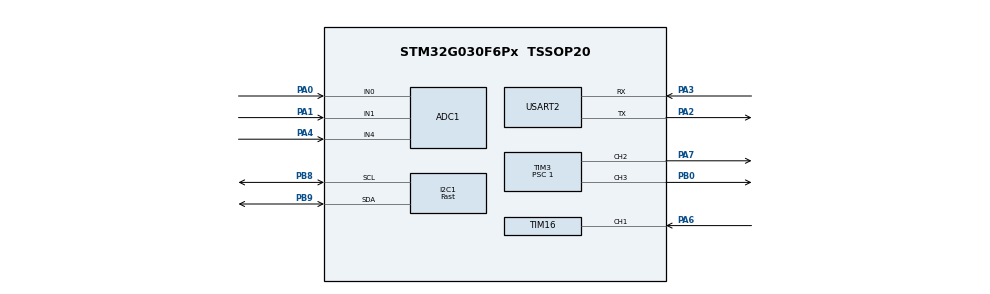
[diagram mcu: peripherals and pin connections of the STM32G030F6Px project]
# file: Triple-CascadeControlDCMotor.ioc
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ADC1.Channel-10\#ChannelRegularConversion=ADC_CHANNEL_1
ADC1.Channel-12\#ChannelRegularConversion=ADC_CHANNEL_TEMPSENSOR
ADC1.Channel-13\#ChannelRegularConversion=ADC_CHANNEL_VREFINT
ADC1.Channel-9\#ChannelRegularConversion=ADC_CHANNEL_0
ADC1.ContinuousConvMode=DISABLE
ADC1.DMAContinuousRequests=ENABLE
ADC1.DiscontinuousConvMode=DISABLE
ADC1.EOCSelection=ADC_EOC_SINGLE_CONV
ADC1.NbrOfConversion=4
ADC1.NbrOfConversionFlag=1
ADC1.Overrun=ADC_OVR_DATA_PRESERVED
ADC1.OversamplingMode=ENABLE
ADC1.Rank-10\#ChannelRegularConversion=3
ADC1.Rank-12\#ChannelRegularConversion=4
ADC1.Rank-13\#ChannelRegularConversion=2
ADC1.Rank-9\#ChannelRegularConversion=1
ADC1.Ratio=ADC_OVERSAMPLING_RATIO_2
ADC1.RightBitShift=ADC_RIGHTBITSHIFT_NONE
ADC1.SamplingTime-10\#ChannelRegularConversion=ADC_SAMPLINGTIME_COMMON_1
ADC1.SamplingTime-12\#ChannelRegularConversion=ADC_SAMPLINGTIME_COMMON_2
ADC1.SamplingTime-13\#ChannelRegularConversion=ADC_SAMPLINGTIME_COMMON_2
ADC1.SamplingTime-9\#ChannelRegularConversion=ADC_SAMPLINGTIME_COMMON_1
ADC1.SamplingTimeCommon1=ADC_SAMPLETIME_1CYCLE_5
ADC1.SamplingTimeCommon2=ADC_SAMPLETIME_160CYCLES_5
ADC1.SelectedChannel=ADC_CHANNEL_0|ADC_CHANNEL_1|ADC_CHANNEL_4|ADC_CHANNEL_TEMPSENSOR|ADC_CHANNEL_VREFINT
ADC1.Sequencer=FULLY_CONFIGURABLE
ADC1.master=1
Dma.ADC1.0.Direction=DMA_PERIPH_TO_MEMORY
Dma.ADC1.0.EventEnable=DISABLE
Dma.ADC1.0.Instance=DMA1_Channel1
Dma.ADC1.0.MemDataAlignment=DMA_MDATAALIGN_HALFWORD
Dma.ADC1.0.MemInc=DMA_MINC_ENABLE
Dma.ADC1.0.Mode=DMA_CIRCULAR
Dma.ADC1.0.PeriphDataAlignment=DMA_PDATAALIGN_HALFWORD
Dma.ADC1.0.PeriphInc=DMA_PINC_DISABLE
Dma.ADC1.0.Polarity=HAL_DMAMUX_REQ_GEN_RISING
Dma.ADC1.0.Priority=DMA_PRIORITY_LOW
Dma.ADC1.0.RequestNumber=1
Dma.ADC1.0.SignalID=NONE
Dma.ADC1.0.SyncEnable=DISABLE
Dma.ADC1.0.SyncPolarity=HAL_DMAMUX_SYNC_NO_EVENT
Dma.ADC1.0.SyncRequestNumber=1
Dma.ADC1.0.SyncSignalID=NONE
Dma.Request0=ADC1
Dma.Request1=USART2_RX
Dma.Request2=USART2_TX
Dma.USART2_RX.1.Direction=DMA_PERIPH_TO_MEMORY
Dma.USART2_RX.1.EventEnable=DISABLE
Dma.USART2_RX.1.Instance=DMA1_Channel4
Dma.USART2_RX.1.MemDataAlignment=DMA_MDATAALIGN_BYTE
Dma.USART2_RX.1.MemInc=DMA_MINC_ENABLE
Dma.USART2_RX.1.Mode=DMA_NORMAL
Dma.USART2_RX.1.PeriphDataAlignment=DMA_PDATAALIGN_BYTE
Dma.USART2_RX.1.PeriphInc=DMA_PINC_DISABLE
Dma.USART2_RX.1.Polarity=HAL_DMAMUX_REQ_GEN_RISING
Dma.USART2_RX.1.Priority=DMA_PRIORITY_LOW
Dma.USART2_RX.1.RequestNumber=1
Dma.USART2_RX.1.SignalID=NONE
Dma.USART2_RX.1.SyncEnable=DISABLE
Dma.USART2_RX.1.SyncPolarity=HAL_DMAMUX_SYNC_NO_EVENT
Dma.USART2_RX.1.SyncRequestNumber=1
Dma.USART2_RX.1.SyncSignalID=NONE
Dma.USART2_TX.2.Direction=DMA_MEMORY_TO_PERIPH
Dma.USART2_TX.2.EventEnable=DISABLE
Dma.USART2_TX.2.Instance=DMA1_Channel5
Dma.USART2_TX.2.MemDataAlignment=DMA_MDATAALIGN_BYTE
Dma.USART2_TX.2.MemInc=DMA_MINC_ENABLE
Dma.USART2_TX.2.Mode=DMA_NORMAL
Dma.USART2_TX.2.PeriphDataAlignment=DMA_PDATAALIGN_BYTE
Dma.USART2_TX.2.PeriphInc=DMA_PINC_DISABLE
Dma.USART2_TX.2.Polarity=HAL_DMAMUX_REQ_GEN_RISING
Dma.USART2_TX.2.Priority=DMA_PRIORITY_LOW
Dma.USART2_TX.2.RequestNumber=1
Dma.USART2_TX.2.SignalID=NONE
Dma.USART2_TX.2.SyncEnable=DISABLE
Dma.USART2_TX.2.SyncPolarity=HAL_DMAMUX_SYNC_NO_EVENT
Dma.USART2_TX.2.SyncRequestNumber=1
Dma.USART2_TX.2.SyncSignalID=NONE
I2C1.DualAddressMode=I2C_DUALADDRESS_DISABLE
I2C1.GeneralCallMode=I2C_GENERALCALL_DISABLE
I2C1.I2C_Speed_Mode=I2C_Fast
I2C1.NoStretchMode=I2C_NOSTRETCH_DISABLE
I2C1.Timing=0x00C12166
Mcu.Family=STM32G0
Mcu.Name=STM32G030F6Px
Mcu.Package=TSSOP20
NVIC.DMA1_Ch4_5_DMAMUX1_OVR_IRQn=true\:0\:0\:false\:false\:true\:false\:true\:true
NVIC.DMA1_Channel1_IRQn=true\:0\:0\:false\:false\:true\:false\:true\:true
NVIC.TIM16_IRQn=true\:0\:0\:true\:false\:true\:true\:true\:true
NVIC.USART2_IRQn=true\:0\:0\:true\:false\:true\:true\:true\:true
PA0.Mode=IN0
PA0.Signal=ADC1_IN0
PA1.Mode=IN1
PA1.Signal=ADC1_IN1
PA13.Mode=Serial_Wire
PA13.Signal=SYS_SWDIO
PA14-BOOT0.Mode=Serial_Wire
PA14-BOOT0.Signal=SYS_SWCLK
PA14-BOOT0__PA15.StandardMode=true
PA2.Mode=Asynchronous
PA2.Signal=USART2_TX
PA3.Mode=Asynchronous
PA3.Signal=USART2_RX
PA4.Mode=IN4
PA4.Signal=ADC1_IN4
PA6.Signal=S_TIM16_CH1
PA7.Signal=S_TIM3_CH2
PB0.Signal=S_TIM3_CH3
PB0__PB1__PB2__PA8.StandardMode=true
PB3__PB4__PB5__PB6.StandardMode=true
PB7__PB8.StandardMode=true
PB8.Mode=I2C
PB8.Signal=I2C1_SCL
PB9.Mode=I2C
PB9.Signal=I2C1_SDA
PC14-OSC32_IN\ (PC14)__PB9.StandardMode=true
ProjectManager.HeapSize=0x200
ProjectManager.StackSize=0x400
ProjectManager.TargetToolchain=CMake
RCC.ADCFreq_Value=64000000
RCC.AHBFreq_Value=64000000
RCC.CortexFreq_Value=64000000
RCC.EXTERNAL_CLOCK_VALUE=12288000
RCC.HCLKFreq_Value=64000000
RCC.HSE_VALUE=8000000
RCC.HSI_VALUE=16000000
RCC.LSE_VALUE=32768
RCC.SYSCLKFreq_VALUE=64000000
RCC.SYSCLKSource=RCC_SYSCLKSOURCE_PLLCLK
RCC.VCOOutputFreq_Value=128000000
SH.S_TIM16_CH1.0=TIM16_CH1,Input_Capture1_from_TI1
SH.S_TIM3_CH2.0=TIM3_CH2,PWM Generation2 CH2
SH.S_TIM3_CH3.0=TIM3_CH3,PWM Generation3 CH3
TIM14.Prescaler=63
TIM16.Channel=TIM_CHANNEL_1
TIM16.ICFilter_CH1=7
TIM16.ICPolarity_CH1=TIM_INPUTCHANNELPOLARITY_BOTHEDGE
TIM16.Prescaler=63
TIM3.Channel-PWM\ Generation2\ CH2=TIM_CHANNEL_2
TIM3.Channel-PWM\ Generation3\ CH3=TIM_CHANNEL_3
TIM3.Period=1249
TIM3.Prescaler=1
USART2.VirtualMode-Asynchronous=VM_ASYNC
VP_ADC1_TempSens_Input.Mode=IN-TempSens
VP_ADC1_Vref_Input.Mode=IN-Vrefint
VP_TIM14_VS_ClockSourceINT.Mode=Enable_Timer
VP_TIM16_VS_ClockSourceINT.Mode=Enable_Timer
VP_TIM1_VS_ClockSourceINT.Mode=Internal
board=custom

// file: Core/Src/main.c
/* USER CODE BEGIN Header */
/**
  ******************************************************************************
  * @file           : main.c
  * @brief          : Main program body
  ******************************************************************************
  */
/* USER CODE END Header */
#include "main.h"
#include "adc.h"
#include "dma.h"
#include "i2c.h"
#include "tim.h"
#include "usart.h"
#include "gpio.h"

/* USER CODE BEGIN Includes */
#include "TypeDefine.h"
#include "MT6701.h"
#include "AD116.h"
#include "VoltageStatus.h"
#include "PID.h"
#include "PWMCapture/PWMCapture.h"
#include "NvmParam.h"
#include "ServoControl.h"
#include "Dynamixel2.h"
#include "Crsf.h"
#include "CurrentControl.h"
#include "Sds1601Calibration.h"
/* USER CODE END Includes */

/* USER CODE BEGIN PV */
Param Param_KX;
MT6701 Encoder;
AD116 Drive;
VoltageStatus Voltage;
CaptureData PWMCaptureData;
ServoControl Servo;
Dynamixel2Context DynamixelBus;
CrsfContext CrsfInput;
CurrentControl CurrentLoop;
ServoCommand PwmInputCommand;
/* USER CODE END PV */

void SystemClock_Config(void);

/* USER CODE BEGIN 0 */
#define TK_UART_LINK_TEST 0
static uint32_t App_CurrentUartBaud;

static void App_ApplySds1601ModelDefaultsIfUnconfigured(Param *param)
{
  const bool electrical_model_unconfigured =
      param->MotorTorqueParams.torque_constant_uNm_per_A == 0U
      && param->MotorTorqueParams.back_emf_uV_per_rpm == 0U
      && param->MotorTorqueParams.terminal_resistance_mOhm == 0U;
  const bool legacy_electrical_calibration =
      param->MotorTorqueParams.torque_constant_uNm_per_A
          == SDS1601_LEGACY_TORQUE_CONSTANT_UNM_PER_A
      && param->MotorTorqueParams.back_emf_uV_per_rpm
          == SDS1601_LEGACY_BACK_EMF_UV_PER_RPM;
  const bool mechanical_model_unconfigured =
      param->MechanicalParams.total_inertia_ug_cm2 == 0U
      && param->MechanicalParams.coulomb_friction_uNm == 0U
      && param->MechanicalParams.viscous_friction_nNm_per_rpm == 0U
      && param->MechanicalParams.friction_deadband_cps == 0U;
  const bool legacy_mechanical_calibration =
      param->MechanicalParams.coulomb_friction_uNm
          == SDS1601_LEGACY_COULOMB_FRICTION_UNM;

  if (electrical_model_unconfigured || legacy_electrical_calibration)
  {
    param->MotorTorqueParams.torque_constant_uNm_per_A =
        SDS1601_TORQUE_CONSTANT_UNM_PER_A;
    param->MotorTorqueParams.torque_temp_coefficient_ppm_per_C = -1000;
    param->MotorTorqueParams.back_emf_uV_per_rpm =
        SDS1601_BACK_EMF_UV_PER_RPM;
    param->MotorTorqueParams.terminal_resistance_mOhm =
        SDS1601_TERMINAL_RESISTANCE_MOHM;
    param->MotorTorqueParams.resistance_temp_coefficient_ppm_per_C = 4000U;
    param->MotorTorqueParams.brush_drop_mV = 0U;
    param->MotorTorqueParams.reference_temperature_C = 25;

    /* New configurations use cycle-by-cycle mixed decay. Existing explicit
     * mode selections remain available for hardware diagnostics. */
  }
  if (param->MotorTorqueParams.back_emf_uV_per_rpm
      == SDS1601_INTERIM_BACK_EMF_UV_PER_RPM)
    param->MotorTorqueParams.back_emf_uV_per_rpm = SDS1601_BACK_EMF_UV_PER_RPM;
  if (param->Pid_PosVel.out_max == 400U)
    param->Pid_PosVel.out_max = SPEED_PID_OUTPUT_MAX_MA;
  if (param->TorqueCurrentLimit_mA == 0U)
  {
    param->TorqueCurrentLimit_mA = 400U;
  }
  if (param->MotorInductance_uH == 0U) param->MotorInductance_uH = 10U;
  if (param->CurrentPeakLimit_mA == 0U) param->CurrentPeakLimit_mA = 1500U;
  if (param->CurrentAbsoluteLimit_mA == 0U) param->CurrentAbsoluteLimit_mA = 1800U;
  if (param->TorqueCurrentLimit_mA <= 1830U
      && param->CurrentAbsoluteLimit_mA < param->TorqueCurrentLimit_mA)
    param->CurrentAbsoluteLimit_mA = param->TorqueCurrentLimit_mA;
  if (param->StallCurrentThreshold_mA == 0U) param->StallCurrentThreshold_mA = 300U;
  if (param->StallSpeedThreshold_cps == 0U) param->StallSpeedThreshold_cps = 300U;
  if (param->StallConfirmTimeMs == 0U) param->StallConfirmTimeMs = 3000U;
  if (mechanical_model_unconfigured || legacy_mechanical_calibration)
  {
    /* Inertia remains disabled until a higher-rate identification is available. */
    param->MechanicalParams.total_inertia_ug_cm2 = 0U;
    param->MechanicalParams.coulomb_friction_uNm =
        SDS1601_COULOMB_FRICTION_UNM;
    param->MechanicalParams.viscous_friction_nNm_per_rpm =
        SDS1601_VISCOUS_FRICTION_NNM_PER_RPM;
    param->MechanicalParams.friction_deadband_cps =
        SDS1601_FRICTION_DEADBAND_CPS;
  }
  param->MotorWindingTemperature_C =
      param->MotorTorqueParams.reference_temperature_C;

  /* Migrate the previously shipped value that converted roughly 300 mA of
   * friction compensation instead of the measured approximately 40 mA. */
  if (param->MechanicalParams.coulomb_friction_uNm == 73500U)
  {
    param->MechanicalParams.coulomb_friction_uNm =
        SDS1601_COULOMB_FRICTION_UNM;
    param->MechanicalParams.viscous_friction_nNm_per_rpm =
        SDS1601_VISCOUS_FRICTION_NNM_PER_RPM;
  }
}

#if TK_UART_LINK_TEST
static void App_UartLinkTest_1ms(void)
{
  static uint16_t tick_ms = 0;
  static const uint8_t test_frame[] = {'T', 'K', '1', '1', '5', '2', '0', '0', '\r', '\n'};

  if (++tick_ms >= 1000U)
  {
    tick_ms = 0;
    for (uint32_t i = 0U; i < sizeof(test_frame); ++i)
    {
      while (!LL_USART_IsActiveFlag_TXE_TXFNF(USART2)) {}
      LL_USART_TransmitData8(USART2, test_frame[i]);
    }
  }
}
#endif

static void App_DefaultParam(Param *param)
{
  param->CycleTimeMs = 1;
  param->DutyRatio = 0U;
  param->PwmInputValid = false;
  param->OutputEnabled = false;
  param->TempLimit = 40;
  param->ExpectMA = 0;
  param->CurrentLogical_mA = 0;
  param->CurrentSampleValid = false;
  param->CurrentEstimated = false;
  param->CurrentHardLimitActive = false;
  param->CurrentPeakLimitActive = false;
  param->CurrentAverage_mA = 0;
  param->CurrentPeakChopEvents = 0U;
  param->TorqueEncoderCountsPerRev = 16384U;
  param->TorqueCurrentLimit_mA = 0U;
  param->MotorInductance_uH = 10U;
  param->CurrentPeakLimit_mA = 1500U;
  param->CurrentAbsoluteLimit_mA = 1800U;
  param->StallCurrentThreshold_mA = 300U;
  param->StallSpeedThreshold_cps = 300U;
  param->StallConfirmTimeMs = 3000U;
  param->StallElapsedMs = 0U;
  param->MotorWindingTemperature_C = 25;
  param->MotorTorqueParams = (MotorTorqueModelParams){
    .torque_constant_uNm_per_A = 0U,
    .torque_temp_coefficient_ppm_per_C = 0,
    .back_emf_uV_per_rpm = 0U,
    .terminal_resistance_mOhm = 0U,
    .resistance_temp_coefficient_ppm_per_C = 4000U,
    .brush_drop_mV = 0U,
    .reference_temperature_C = 25
  };
  param->MechanicalParams = (MechanicalModelParams){0};
  param->MotorTorqueResult = (MotorTorqueModelResult){0};
  param->MechanicalResult = (MechanicalModelResult){0};
  param->TargetTorque_uNm = 0;
  param->TargetElectromagneticTorque_uNm = 0;
  param->TorqueCommandVoltageLimited = false;
  param->LowSpeedCompMaxSpeed_cps = 0U;
  param->EncoderExpect = 0;
  param->EncoderOffset = 3400;
  param->EncoderVeer = false;
  param->EncoderRebaseline = false;
  param->SpeedMax = 45000;
  param->PositionDeadbandCounts = PID_POSITION_DEADBAND_DEFAULT_COUNTS;
  param->AccelMax = 60U;
  param->DecelMax = 60U;
  param->EncoderSpeedExpect = 0;
  param->PowerSaveVoltage_mV = 4000;
  param->DriveRunMode = 0;
  param->DrivePwmMode = 4U;
  param->DrivePower = 0;
  param->CurrentFeedforwardPwm = 0;
  param->BaudRate = 115200UL;
  param->SerialWatchdogMs = 500U;
  param->PdoMissLimit = 3U;
  param->FailSafePolicy = FAILSAFE_DISABLE_OUTPUT;
  param->ControlSource = CONTROL_SOURCE_PWM_INPUT;
  param->NodeId = 1U;
  param->Topology = BUS_TOPOLOGY_PARALLEL;
  param->NodeCount = 1U;
  param->NodePosition = 1U;
  param->ReplySlotUs = 120U;
  param->FaultCode = 0U;
  param->ProtectionFlags = PROTECTION_NONE;
  param->CrsfPositionChannel = 1U;
  param->CrsfCenterChannel = 0U;
  param->CrsfEnableChannel = 0U;
  param->CrsfAutoEnable = false;
  param->CrsfManualEnable = false;
  param->CrsfChannelMin = 172U;
  param->CrsfChannelCenter = 992U;
  param->CrsfChannelMax = 1811U;
  param->CrsfCenterTrigger = 1200U;
  param->CrsfEnableThreshold = 1200U;
  param->CrsfArmCurrentLimit_mA = 300U;
  param->CrsfArmSpeed_cps = 5000U;
  param->CrsfArmFollowError = 100U;
  param->CrsfArmTimeoutMs = 2000U;
  param->CrsfWatchdogMs = 100U;
  param->CrsfNegativePositionLimit = -16384;
  param->CrsfPositivePositionLimit = 16384;
  param->CrsfStatus = 0U;
  param->CrsfRawPosition = 0U;
  param->CrsfRawEnable = 0U;
  param->CrsfRawCenter = 0U;
  param->CrsfCenterReference = 0;
}

static bool App_ApplyUartBaud(uint32_t baud)
{
  if (baud >= 115200UL && baud <= 2000000UL)
  {
    LL_USART_Disable(USART2);
    LL_USART_SetBaudRate(USART2, SystemCoreClock, LL_USART_PRESCALER_DIV1,
                         LL_USART_OVERSAMPLING_16, baud);
    LL_USART_Enable(USART2);
    while (!LL_USART_IsActiveFlag_TEACK(USART2)
           || !LL_USART_IsActiveFlag_REACK(USART2))
    {
    }
    App_CurrentUartBaud = baud;
    return true;
  }
  return false;
}

static bool App_ReconfigureUartBaud(uint32_t baud)
{
  uint32_t previous_baud = App_CurrentUartBaud;

  /* The old-baud ACK already reached UART TC; now RX DMA can be restarted safely. */
  /* 旧波特率 ACK 已到达 UART TC，此时可以安全重启 RX DMA。 */
  LL_DMA_DisableChannel(DMA1, LL_DMA_CHANNEL_4);
  LL_USART_DisableDMAReq_RX(USART2);
  if (!App_ApplyUartBaud(baud) || !Dynamixel2_RestartRx(&DynamixelBus))
  {
    LL_DMA_DisableChannel(DMA1, LL_DMA_CHANNEL_4);
    LL_USART_DisableDMAReq_RX(USART2);
    (void)App_ApplyUartBaud(previous_baud);
    (void)Dynamixel2_RestartRx(&DynamixelBus);
    return false;
  }
  return true;
}

static void App_CrsfRxObserver(void *user, const uint8_t *data, uint16_t length)
{
  Crsf_ProcessBytes((CrsfContext *)user, data, length);
}
/* USER CODE END 0 */

int main(void)
{

  /* MCU Configuration--------------------------------------------------------*/

  /* Reset of all peripherals, Initializes the Flash interface and the Systick. */
  LL_APB2_GRP1_EnableClock(LL_APB2_GRP1_PERIPH_SYSCFG);
  LL_APB1_GRP1_EnableClock(LL_APB1_GRP1_PERIPH_PWR);

  /* SysTick_IRQn interrupt configuration */
  NVIC_SetPriority(SysTick_IRQn, 3);

  /* Configure the system clock */
  SystemClock_Config();

  /* Initialize all configured peripherals */
  MX_GPIO_Init();
  MX_DMA_Init();
  MX_ADC1_Init();
  MX_TIM1_Init();
  MX_TIM3_Init();
  MX_TIM16_Init();
  MX_USART2_UART_Init();
  MX_TIM14_Init();
  MX_I2C1_Init();
  /* USER CODE BEGIN 2 */
  PID_Init(&Param_KX);
  App_DefaultParam(&Param_KX);
  (void)NvmParam_Load(&Param_KX);
  App_ApplySds1601ModelDefaultsIfUnconfigured(&Param_KX);
  PID_MigrateLegacyCurrentTuning(&Param_KX);
  Param_KX.CycleTimeMs = 1;
  (void)App_ApplyUartBaud(Param_KX.BaudRate);

  Crsf_Init(&CrsfInput, &Param_KX);
  Dynamixel2_Init(&DynamixelBus, USART2, &Param_KX);
  Dynamixel2_SetRxObserver(&DynamixelBus, App_CrsfRxObserver, &CrsfInput);
  MT6701_init(&Encoder, I2C1, &Param_KX);
  AD116_init(&Drive, TIM3, LL_TIM_CHANNEL_CH2, LL_TIM_CHANNEL_CH3, &Param_KX);
  CurrentControl_Init(&CurrentLoop);
  VoltageStatus_init(&Voltage, ADC1, &Param_KX);
  PWMCapture_Init(&PWMCaptureData, TIM16);
  ServoControl_Init(&Servo, &Param_KX);
  /* USER CODE END 2 */

  /* Infinite loop */
  /* USER CODE BEGIN WHILE */
  while (1)
  {
    CycleStart(&Drive, TIM14);

    ServoControl_Begin1ms(&Servo);
    PWMCapture_1msTick(&PWMCaptureData);
    Param_KX.PwmInputValid = PWMCaptureData.SignalValid;
    Dynamixel2_1msTick(&DynamixelBus);
    Crsf_1msTick(&CrsfInput);
    {
      uint32_t pending_baud;
      if (Dynamixel2_ConsumeBaudRateChange(&DynamixelBus, &pending_baud))
      {
        bool applied = App_ReconfigureUartBaud(pending_baud);
        Dynamixel2_CompleteBaudRateChange(&DynamixelBus, applied);
      }
    }
    if (Param_KX.ControlSource == CONTROL_SOURCE_PWM_INPUT)
    {
      ServoControl_BuildPwmPositionCommand(Param_KX.DutyRatio,
                                           Param_KX.PwmInputValid,
                                           &PwmInputCommand);
      ServoControl_SetCommand(&Servo, &PwmInputCommand);
    }
    else if (Param_KX.ControlSource == CONTROL_SOURCE_CRSF)
    {
      ServoControl_SetCommand(&Servo, Crsf_GetActiveCommand(&CrsfInput));
    }
    else
    {
      ServoControl_SetCommand(&Servo, Dynamixel2_GetActiveCommand(&DynamixelBus));
    }
    VoltageStatus_AnalyzeData(&Voltage);

    if (ServoControl_IsSpeedDue(&Servo))
    {
      MT6701_Update(&Encoder);
      MT6701_SpeedUpdate(&Encoder, Param_KX.ProcessTimeUs);
    }

    ServoControl_Run1ms(&Servo);
    {
      int16_t physical_target_mA = Param_KX.ExpectMA;
      CurrentControlElectrical electrical;
      if (Param_KX.EncoderVeer)
        physical_target_mA = (int16_t)-physical_target_mA;
      electrical = (CurrentControlElectrical){
        .absolute_limit_mA = Param_KX.CurrentAbsoluteLimit_mA
      };
      NVIC_DisableIRQ(DMA1_Channel1_IRQn);
      CurrentControl_SetCommand(&CurrentLoop,
                                Param_KX.OutputEnabled,
                                 physical_target_mA,
                                 Param_KX.DrivePower,
                                 (Param_KX.CurrentLoopStatus & 0x0080U) != 0U
                                   ? 1U : Param_KX.DrivePwmMode,
                                 &electrical);
      NVIC_EnableIRQ(DMA1_Channel1_IRQn);
      if (!CurrentLoop.enabled)
      {
        AD116_Update(&Drive, &Param_KX);
        Param_KX.CurrentHardLimitActive = false;
      }
    }
    VoltageStatus_UpdateLogicalCurrent(&Voltage);

    {
      bool servo_save_request = ServoControl_ConsumeSaveRequest(&Servo);
      bool dynamixel_save_request = Dynamixel2_ConsumeSaveRequest(&DynamixelBus);
      if (servo_save_request || dynamixel_save_request)
      {
        NvmParamStatus save_status = NvmParam_Save(&Param_KX);
        if (dynamixel_save_request)
        {
          /* Finish the unicast transaction only after durable Flash completion. */
          /* 仅在 Flash 持久化完成后结束单播保存事务。 */
          Dynamixel2_CompleteSaveRequest(&DynamixelBus,
                                         save_status == NVM_PARAM_OK);
        }
      }
    }

#if TK_UART_LINK_TEST
    App_UartLinkTest_1ms();
#endif

    CycleBlockingTimer(&Drive, TIM14);
    /* USER CODE END WHILE */

  }
}

void SystemClock_Config(void)
{
  LL_PWR_SetRegulVoltageScaling(LL_PWR_REGU_VOLTAGE_SCALE1);
  while (LL_PWR_IsActiveFlag_VOS() != 0U)
  {
  }

  LL_FLASH_SetLatency(LL_FLASH_LATENCY_2);
  while(LL_FLASH_GetLatency() != LL_FLASH_LATENCY_2)
  {
  }

  /* HSI configuration and activation */
  LL_RCC_HSI_Enable();
  while(LL_RCC_HSI_IsReady() != 1)
  {
  }

  /* Main PLL configuration and activation */
  LL_RCC_PLL_ConfigDomain_SYS(LL_RCC_PLLSOURCE_HSI, LL_RCC_PLLM_DIV_1, 8, LL_RCC_PLLR_DIV_2);
  LL_RCC_PLL_Enable();
  LL_RCC_PLL_EnableDomain_SYS();
  while(LL_RCC_PLL_IsReady() != 1)
  {
  }

  /* Set AHB prescaler*/
  LL_RCC_SetAHBPrescaler(LL_RCC_SYSCLK_DIV_1);

  /* Sysclk activation on the main PLL */
  LL_RCC_SetSysClkSource(LL_RCC_SYS_CLKSOURCE_PLL);
  while(LL_RCC_GetSysClkSource() != LL_RCC_SYS_CLKSOURCE_STATUS_PLL)
  {
  }

  /* Set APB1 prescaler*/
  LL_RCC_SetAPB1Prescaler(LL_RCC_APB1_DIV_1);

  LL_Init1msTick(64000000);

  /* Update CMSIS variable (which can be updated also through SystemCoreClockUpdate function) */
  LL_SetSystemCoreClock(64000000);
}

void Error_Handler(void)
{
  __disable_irq();
  while (1)
  {
  }
}
